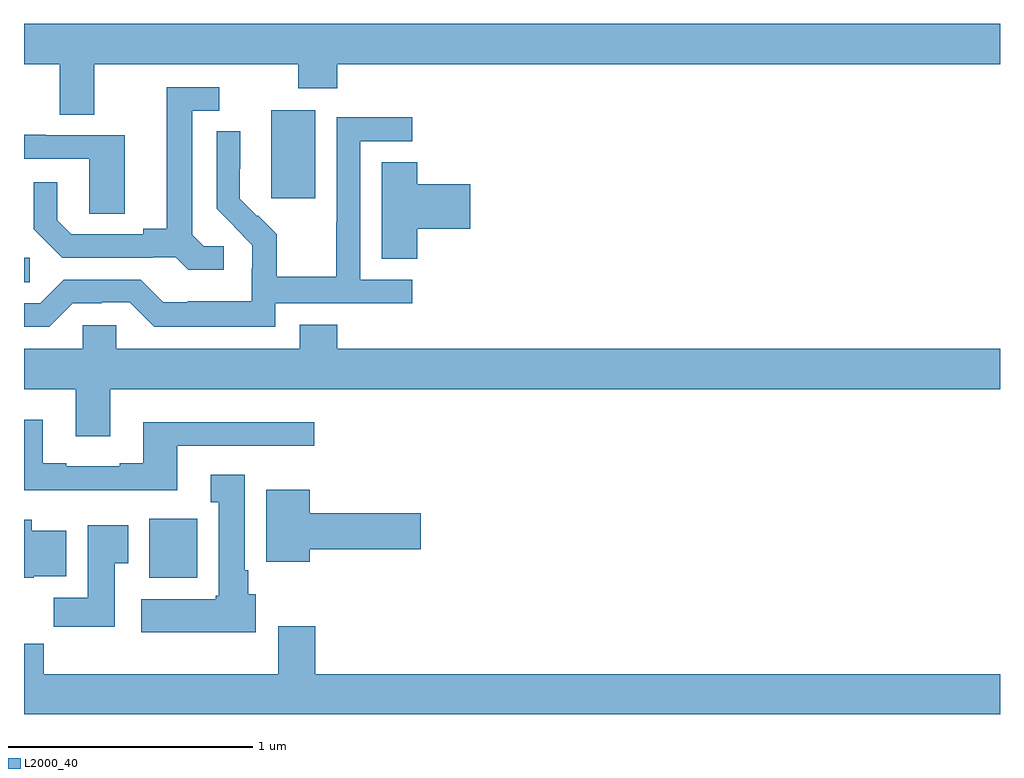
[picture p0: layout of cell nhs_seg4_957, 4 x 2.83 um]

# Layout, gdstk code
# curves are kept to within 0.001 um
import gdstk
lib = gdstk.Library(unit=1e-6, precision=1e-09)
def R(c, l, rs):  # rectangles x0, y0, x1, y1
    for r in rs: c.add(gdstk.rectangle(r[:2], r[2:], *l))
def P(c, l, *ps):  # polygons
    for p in ps: c.add(gdstk.Polygon(p, *l))
L2000_40 = (2000, 40)

nhs_seg4_957 = lib.new_cell('nhs_seg4_957')
R(nhs_seg4_957, L2000_40, [(161.513,756.086,161.71,756.328), (161,757.297,161.023,757.398), (162.014,757.641,162.193,758.002)])
P(nhs_seg4_957, L2000_40, [(161.287,758.192),(162.124,758.192),(162.124,758.093),(162.284,758.093),(162.284,758.192),(165,758.192),(165,758.356),(161,758.356),(161,758.192),(161.147,758.192),(161.147,757.984),(161.287,757.984)],
  [(161.818,757.446),(161.736,757.446),(161.689,757.493),(161.689,758.001),(161.8,758.001),(161.8,758.097),(161.585,758.097),(161.585,757.517),(161.489,757.517),(161.489,757.494),(161.194,757.494),(161.137,757.551),(161.137,757.708),(161.04,757.708),(161.04,757.514),(161.156,757.398),(161.528,757.398),(161.528,757.401),(161.622,757.401),(161.674,757.349),(161.818,757.349)],
  [(162.03,757.212),(162.592,757.212),(162.592,757.308),(162.378,757.308),(162.378,757.875),(162.592,757.875),(162.592,757.974),(162.282,757.974),(162.282,757.544),(162.28,757.544),(162.28,757.321),(162.035,757.321),(162.035,757.495),(161.958,757.572),(161.955,757.569),(161.885,757.64),(161.886,757.916),(161.79,757.916),(161.79,757.598),(161.936,757.45),(161.936,757.353),(161.934,757.353),(161.934,757.219),(161.671,757.219),(161.671,757.215),(161.571,757.215),(161.478,757.308),(161.163,757.308),(161.067,757.212),(161,757.212),(161,757.116),(161.103,757.116),(161.199,757.212),(161.318,757.212),(161.318,757.215),(161.433,757.215),(161.533,757.115),(162.03,757.115)],
  [(161.413,757.899),(161.089,757.899),(161.089,757.903),(161,757.903),(161,757.803),(161.268,757.803),(161.268,757.579),(161.413,757.579)],
  [(162.611,757.517),(162.829,757.517),(162.829,757.7),(162.611,757.7),(162.611,757.79),(162.467,757.79),(162.467,757.393),(162.611,757.393)],
  [(161.353,756.86),(165,756.86),(165,757.024),(162.284,757.024),(162.284,757.123),(162.131,757.123),(162.131,757.024),(161.379,757.024),(161.379,757.122),(161.241,757.122),(161.241,757.024),(161,757.024),(161,756.86),(161.213,756.86),(161.213,756.666),(161.353,756.666)],
  [(161.629,756.627),(162.19,756.627),(162.19,756.724),(161.489,756.724),(161.489,756.556),(161.393,756.556),(161.393,756.543),(161.173,756.543),(161.173,756.556),(161.077,756.556),(161.077,756.733),(161,756.733),(161,756.446),(161.629,756.446)],
  [(161.95,756.018),(161.92,756.018),(161.92,756.118),(161.905,756.118),(161.905,756.508),(161.765,756.508),(161.765,756.395),(161.798,756.395),(161.798,756.012),(161.785,756.012),(161.785,755.998),(161.481,755.998),(161.481,755.864),(161.95,755.864)],
  [(162.172,756.203),(162.625,756.203),(162.625,756.35),(162.172,756.35),(162.172,756.448),(161.993,756.448),(161.993,756.152),(162.172,756.152)],
  [(161.04,756.092),(161.173,756.092),(161.173,756.28),(161.032,756.28),(161.032,756.324),(161,756.324),(161,756.086),(161.04,756.086)],
  [(161.371,756.145),(161.428,756.145),(161.428,756.301),(161.261,756.301),(161.261,756.004),(161.122,756.004),(161.122,755.886),(161.371,755.886)],
  [(165,755.692),(162.194,755.692),(162.194,755.887),(162.041,755.887),(162.041,755.692),(161.081,755.692),(161.081,755.816),(161,755.816),(161,755.528),(165,755.528)])

lib.write_gds('nhs_seg4_957.gds')
